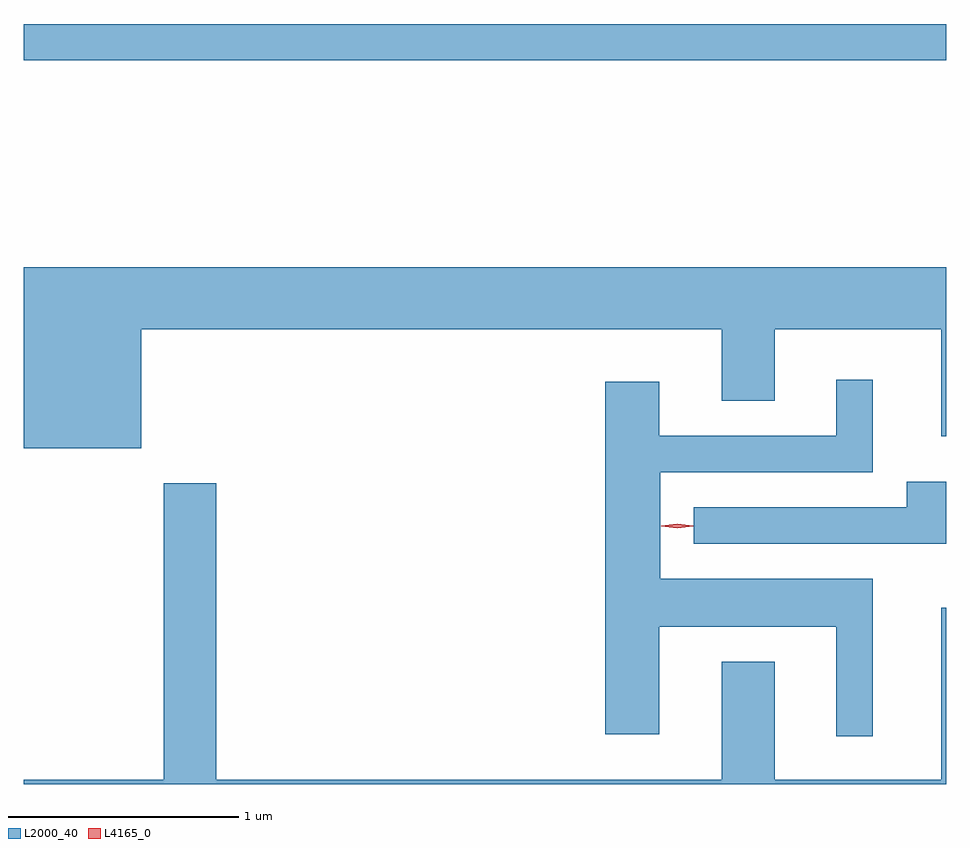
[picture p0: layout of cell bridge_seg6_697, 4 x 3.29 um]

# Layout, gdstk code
import gdstk
lib = gdstk.Library(unit=1e-6, precision=1e-09)
def R(c, l, rs):  # rectangles x0, y0, x1, y1
    for r in rs: c.add(gdstk.rectangle(r[:2], r[2:], *l))
def P(c, l, *ps):  # polygons
    for p in ps: c.add(gdstk.Polygon(p, *l))
L2000_40 = (2000, 40)
L4165_0 = (4165, 0)

bridge_seg6_697 = lib.new_cell('bridge_seg6_697')
R(bridge_seg6_697, L2000_40, [(556.504,1588.941,560.504,1589.099)])
P(bridge_seg6_697, L2000_40, [(557.014,1587.776),(559.531,1587.776),(559.531,1587.466),(559.759,1587.466),(559.759,1587.776),(560.481,1587.776),(560.481,1587.313),(560.504,1587.313),(560.504,1588.044),(556.504,1588.044),(556.504,1587.261),(557.014,1587.261)],
  [(560.184,1586.694),(559.264,1586.694),(559.264,1587.156),(560.184,1587.156),(560.184,1587.558),(560.026,1587.558),(560.026,1587.314),(559.259,1587.314),(559.259,1587.549),(559.026,1587.549),(559.026,1586.021),(559.259,1586.021),(559.259,1586.486),(560.026,1586.486),(560.026,1586.013),(560.184,1586.013)],
  [(560.504,1587.114),(560.331,1587.114),(560.331,1587.004),(559.408,1587.004),(559.408,1586.846),(560.504,1586.846)],
  [(560.504,1586.568),(560.481,1586.568),(560.481,1585.824),(559.759,1585.824),(559.759,1586.334),(559.531,1586.334),(559.531,1585.824),(557.339,1585.824),(557.339,1587.109),(557.111,1587.109),(557.111,1585.824),(556.504,1585.824),(556.504,1585.805),(560.504,1585.805)])
P(bridge_seg6_697, L4165_0, [(559.337,1586.914),(559.271,1586.923),(559.27,1586.924),(559.271,1586.924),(559.337,1586.934),(559.402,1586.924),(559.403,1586.924),(559.402,1586.923)],
  [(559.337,1586.914),(559.268,1586.923),(559.268,1586.924),(559.268,1586.924),(559.337,1586.934),(559.406,1586.924),(559.406,1586.924),(559.406,1586.923)])

lib.write_gds('bridge_seg6_697.gds')
